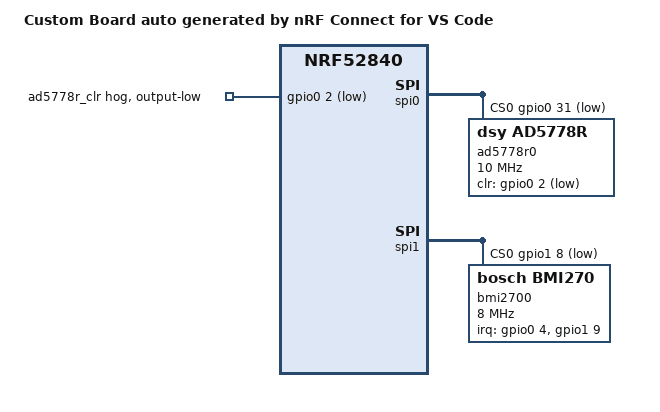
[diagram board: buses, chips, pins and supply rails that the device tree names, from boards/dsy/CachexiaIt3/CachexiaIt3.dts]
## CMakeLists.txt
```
# CMakeLists.txt at the repository root
cmake_minimum_required(VERSION 3.20.0)

find_package(Zephyr REQUIRED HINTS $ENV{ZEPHYR_BASE})
project(NexusFW)

# ── Public headers ──
# One top‑level include directory is enough;   #include <ble/ble.h>
# is resolved as "${PROJECT_SOURCE_DIR}/include/ble/ble.h".
target_include_directories(app PUBLIC
    ${CMAKE_CURRENT_SOURCE_DIR}/include
    ${CMAKE_CURRENT_SOURCE_DIR}/include/ble
    ${CMAKE_CURRENT_SOURCE_DIR}/include/driver
)

# ── Sources (conditional compile per app) ──
# Keep this convenient: auto-include drivers; explicitly include app variant.

# Drivers (auto-include any new driver/*.c without editing this file)
file(GLOB DRIVER_SOURCES CONFIGURE_DEPENDS
     ${CMAKE_CURRENT_SOURCE_DIR}/src/driver/*.c)

# Always include main; shared BLE advertising core is linked once
set(BASE_SOURCES
    ${CMAKE_CURRENT_SOURCE_DIR}/src/main.c
)

# App-specific sources
if (CONFIG_APP_CACHEXIA)
  message(STATUS "Building Cachexia application")
  set(APP_SPECIFIC
      ${CMAKE_CURRENT_SOURCE_DIR}/src/app/cachexia_app.c
      ${CMAKE_CURRENT_SOURCE_DIR}/src/ble/ble_cachexia_srv.c
      ${CMAKE_CURRENT_SOURCE_DIR}/src/ble/ble_adv_core.c)
elseif (CONFIG_APP_STIM_DEMO)
  message(STATUS "Building STIM_DEMO application")
  set(APP_SPECIFIC
      ${CMAKE_CURRENT_SOURCE_DIR}/src/ble/ble_ad5689_srv.c
      ${CMAKE_CURRENT_SOURCE_DIR}/src/ble/ble_advertise.c)
elseif (CONFIG_APP_DRUG_DELIVERY)
  message(STATUS "Building DRUG_DELIVERY application")
  set(APP_SPECIFIC
      ${CMAKE_CURRENT_SOURCE_DIR}/src/app/drug_delivery_app.c
      ${CMAKE_CURRENT_SOURCE_DIR}/src/ble/ble_drug_delivery_srv.c
      ${CMAKE_CURRENT_SOURCE_DIR}/src/ble/ble_adv_core.c)
elseif (CONFIG_APP_GFET_MEASURE)
  message(STATUS "Building GFET_MEASURE application")
  set(APP_SPECIFIC
      ${CMAKE_CURRENT_SOURCE_DIR}/src/app/gfet_app.c
      ${CMAKE_CURRENT_SOURCE_DIR}/src/ble/ble_gfet_srv.c
      ${CMAKE_CURRENT_SOURCE_DIR}/src/ble/ble_adv_core.c)
elseif (CONFIG_APP_MLX_DEMO)
  message(STATUS "Testing MLX sensor")
  set(APP_SPECIFIC
      ${CMAKE_CURRENT_SOURCE_DIR}/src/app/mlx_app.c
      ${CMAKE_CURRENT_SOURCE_DIR}/src/ble/ble_mlx_srv.c
      ${CMAKE_CURRENT_SOURCE_DIR}/src/ble/ble_adv_core.c)

elseif (CONFIG_APP_CACHEXIA_CURRENT_DEVICE)
  message(STATUS "Cachexia Current Source Device")
  set(APP_SPECIFIC
    ${CMAKE_CURRENT_SOURCE_DIR}/src/app/cachexia_cs_app.c
    # ${CMAKE_CURRENT_SOURCE_DIR}/src/app/cachexia_cs_app_diag.c
    # ${CMAKE_CURRENT_SOURCE_DIR}/src/app/mux_probe_app.c
    ${CMAKE_CURRENT_SOURCE_DIR}/src/ble/ble_cachexia_cs_srv.c
    ${CMAKE_CURRENT_SOURCE_DIR}/src/ble/ble_adv_core.c)

elseif (CONFIG_APP_EXG_DEVICE)
  message(STATUS "Testing exg sensor")
  set(APP_SPECIFIC
      ${CMAKE_CURRENT_SOURCE_DIR}/src/app/max30001_stream_app.c
      ${CMAKE_CURRENT_SOURCE_DIR}/src/ble/ble_max30001_stream_srv.c
      ${CMAKE_CURRENT_SOURCE_DIR}/src/ble/ble_adv_core.c)

elseif (CONFIG_APP_MECHANICAL_SENSOR)
  message(STATUS "Testing Dual Mechanical Sensor")
  set(APP_SPECIFIC
      ${CMAKE_CURRENT_SOURCE_DIR}/src/app/mlx90397_dual_app.c
      ${CMAKE_CURRENT_SOURCE_DIR}/src/ble/ble_mlx97_srv.c
      ${CMAKE_CURRENT_SOURCE_DIR}/src/ble/ble_adv_core.c)
elseif (CONFIG_APP_CS_FG)
  message(STATUS "Testing Function Generator")
  set(APP_SPECIFIC
      ${CMAKE_CURRENT_SOURCE_DIR}/src/app/cachexia_fg_app.c
      ${CMAKE_CURRENT_SOURCE_DIR}/src/ble/ble_cachexia_fg_srv.c
      ${CMAKE_CURRENT_SOURCE_DIR}/src/ble/ble_adv_core.c)
else()
  message(STATUS "No app variant selected; defaulting to STIM_DEMO")
  set(APP_SPECIFIC
      ${CMAKE_CURRENT_SOURCE_DIR}/src/ble/ble_ad5689_srv.c
      ${CMAKE_CURRENT_SOURCE_DIR}/src/ble/ble_advertise.c)
endif()

target_sources(app PRIVATE ${BASE_SOURCES} ${DRIVER_SOURCES} ${APP_SPECIFIC})
```

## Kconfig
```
# Give the app a menu title (optional)
mainmenu "NexusFW"

# CRITICAL: pull in Zephyr + NCS Kconfig tree
source "Kconfig.zephyr"
menu "Application configuration"

choice APP_VARIANT
    prompt "Select application variant"
    default APP_STIM_DEMO

config APP_CACHEXIA
	bool "Cachexia application"
	help
	  Build the Cachexia application variant which provides the
	  Cachexia BLE service and application thread.

config APP_DRUG_DELIVERY
	bool "Drug delivery application"
	help
	  Build the Drug Delivery application variant which exposes
	  5 on/off BLE characteristics that directly control GPIO pins
	  P0.28, P0.29, P0.30, P0.25, and P0.31.

config APP_STIM_DEMO
    bool "Stim demo application"
    help
      Build the AD5689 demo variant with the dual-DAC BLE service.

config APP_GFET_MEASURE
    bool "Graphene FET measurement application"
    help
      Build the Graphene FET measurement application which uses the
      AD5941 AFE (via SPI) together with the AD5689 DAC to bias the
      device under test and stream measurements over BLE notifications.
config APP_CACHEXIA_CURRENT_DEVICE
    bool "Current source version of cachexia stimulator"
    help
      Really? You need help? Like how did you even trigger this? How is this even helpful?

config APP_EXG_DEVICE
    bool "EXG Device"
    help
      Really? You need help? Like how did you even trigger this? How is this even helpful?
config APP_MECHANICAL_SENSOR
    bool "Dual MLX Mechanical Sensor"
    help
      Dual MLX Mechanical Sensor
config APP_CS_FG
    bool "Current source function generator"
    help
       Current source function generator 
config APP_MLX_DEMO
    bool "MLX Demo"
    help
        Demo app for mlx90393

endchoice

endmenu
```

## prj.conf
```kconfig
# Boot Loader Configuration
CONFIG_BOOTLOADER_MCUBOOT=y
CONFIG_NCS_SAMPLE_MCUMGR_BT_OTA_DFU=y

# Configure SoC Flash
CONFIG_FLASH=y
CONFIG_MPU_ALLOW_FLASH_WRITE=y
CONFIG_SOC_FLASH_NRF_EMULATE_ONE_BYTE_WRITE_ACCESS=y
CONFIG_FCB=y
CONFIG_FLASH_MAP=y
CONFIG_SETTINGS=y
CONFIG_SETTINGS_FCB=y

CONFIG_BT=y
# CONFIG_BT_DEVICE_NAME="DrugDeliveryD4"
# CONFIG_BT_DEVICE_NAME="CachexiaCSFine02"
# CONFIG_BT_DEVICE_NAME="GFETTest"
CONFIG_BT_DEVICE_NAME="MechDevice05"
# CONFIG_BT_DEVICE_NAME="MECH2"
# CONFIG_BT_DEVICE_NAME="FGDEMO"
CONFIG_BT_PERIPHERAL=y

# Config APP
# Application variants (enable exactly one)
# CONFIG_APP_CACHEXIA=y     # Cachexia stimulation app (DAC-based)
# CONFIG_APP_STIM_DEMO=y    # AD5689 dual-DAC demo app
# CONFIG_APP_DRUG_DELIVERY=y  # Drug delivery app (5 GPIO on/off)
# CONFIG_APP_GFET_MEASURE=y   # Graphene FET measurement app
# CONFIG_APP_MLX_DEMO=y
# CONFIG_APP_CACHEXIA_CURRENT_DEVICE=y
# CONFIG_APP_EXG_DEVICE=y
CONFIG_APP_MECHANICAL_SENSOR=y
# CONFIG_APP_CS_FG=y

CONFIG_SENSOR=y
CONFIG_BMI270=y

CONFIG_UART_CONSOLE=n
CONFIG_CONSOLE=y
CONFIG_CONSOLE=y
CONFIG_USE_SEGGER_RTT=y
CONFIG_RTT_CONSOLE=y

# Driver Configuration
CONFIG_I2C=y
CONFIG_GPIO=y
CONFIG_SPI=y
CONFIG_ADC=y
CONFIG_APPLICATION_DEFINED_SYSCALL=y

# LFCLK: internal RC + calibration
CONFIG_CLOCK_CONTROL_NRF_K32SRC_RC=y
# Keep the RC trimmed (better timing, fewer BLE hiccups)
CONFIG_CLOCK_CONTROL_NRF_K32SRC_RC_CALIBRATION=y


CONFIG_LOG=y
CONFIG_LOG_BACKEND_RTT=y
# (Optional) Recalibrate every ~4 s:
# CONFIG_CLOCK_CONTROL_NRF_K32SRC_RC_CALIBRATION_PERIOD=4000
```

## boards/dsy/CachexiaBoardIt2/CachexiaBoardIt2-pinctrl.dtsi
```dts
&pinctrl {
    spi0_default: spi0_default {
		group1 {
			psels = <NRF_PSEL(SPIM_SCK, 0, 29)>,
				<NRF_PSEL(SPIM_MOSI, 0, 2)>,
				<NRF_PSEL(SPIM_MISO, 0, 31)>;
		};
	};

	spi0_sleep: spi0_sleep {
		group1 {
			psels = <NRF_PSEL(SPIM_SCK, 0, 29)>,
				<NRF_PSEL(SPIM_MOSI, 0, 2)>,
				<NRF_PSEL(SPIM_MISO, 0, 31)>;
			low-power-enable;
		};
	};
};
```

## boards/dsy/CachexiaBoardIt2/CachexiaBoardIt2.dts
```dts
/dts-v1/;
#include <nordic/nrf52840_qfaa.dtsi>
#include "CachexiaBoardIt2-pinctrl.dtsi"

/ {
    model = "Custom Board auto generated by nRF Connect for VS Code";
    compatible = "DSY,CachexiaBoardIt2";

    chosen {
        zephyr,sram = &sram0;
        zephyr,flash = &flash0;
        zephyr,code-partition = &slot0_partition;
    };
};

&flash0 {
	partitions {
		compatible = "fixed-partitions";
		#address-cells = <1>;
		#size-cells = <1>;

		boot_partition: partition@0 {
			label = "mcuboot";
			reg = <0x00000000 DT_SIZE_K(48)>;
		};

		slot0_partition: partition@c000 {
			label = "image-0";
			reg = <0x0000c000 DT_SIZE_K(472)>;
		};

		slot1_partition: partition@82000 {
			label = "image-1";
			reg = <0x00082000 DT_SIZE_K(472)>;
		};

		storage_partition: partition@f8000 {
			label = "storage";
			reg = <0x000f8000 DT_SIZE_K(32)>;
		};
	};
};

&spi0 {
	status = "okay";
	pinctrl-names = "default", "sleep";
	cs-gpios = <&gpio0 28 GPIO_ACTIVE_LOW>;
	pinctrl-0 = <&spi0_default>;
	pinctrl-1 = <&spi0_sleep>;
    dac: ad5689@0 {
        compatible = "dsy,ad5689";
        reg = <0>;                       /* CS0 */
        ldac-gpios  = <&gpio0 8 GPIO_ACTIVE_LOW>;
        clr-gpios   = <&gpio0 9 GPIO_ACTIVE_LOW>;
        reset-gpios = <&gpio0 30 GPIO_ACTIVE_LOW>;
        spi-max-frequency = <8000000>;  /* 20 MHz */
        status = "okay";
    };
};
&gpio0 { status = "okay"; };
&gpio1 { status = "okay"; };

&gpiote {
    status = "okay";
};

/* (No SAADC channel for VBAT; BATT_MON not used) */
```

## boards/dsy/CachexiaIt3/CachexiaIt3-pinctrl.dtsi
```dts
&pinctrl {
    spi0_default: spi0_default {
        group1 {
            psels = <NRF_PSEL(SPIM_SCK, 0, 30)>,
                <NRF_PSEL(SPIM_MOSI, 0, 28)>,
                <NRF_PSEL(SPIM_MISO, 0, 29)>;
            bias-pull-up;   /* 关键：给 MISO 上拉（注意：这会对该 group 里的所有 pin 生效） */
        };
    };

    spi0_sleep: spi0_sleep {
        group1 {
            psels = <NRF_PSEL(SPIM_SCK, 0, 30)>,
                <NRF_PSEL(SPIM_MOSI, 0, 28)>,
                <NRF_PSEL(SPIM_MISO, 0, 29)>;
            low-power-enable;
        };
    };

    /* ---- BMI270 on SPI1 ----
     *  imu_sck  = P0.08
     *  imu_mosi = P0.07
     *  imu_miso = P0.05
     */
    spi1_default: spi1_default {
        group1 {
            psels = <NRF_PSEL(SPIM_SCK, 0, 8)>,
                <NRF_PSEL(SPIM_MOSI, 0, 7)>;
        };
        group2 {
            psels = <NRF_PSEL(SPIM_MISO, 0, 5)>;
            bias-pull-up;   /* 可选：让 MISO 在 CS 高时不漂（只对 MISO 生效） */
        };
    };

    spi1_sleep: spi1_sleep {
        group1 {
            psels = <NRF_PSEL(SPIM_SCK, 0, 8)>,
                <NRF_PSEL(SPIM_MOSI, 0, 7)>,
                <NRF_PSEL(SPIM_MISO, 0, 5)>;
            low-power-enable;
        };
    };
};
```

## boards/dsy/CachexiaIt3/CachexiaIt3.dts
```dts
/dts-v1/;
#include <nordic/nrf52840_qfaa.dtsi>
#include "CachexiaIt3-pinctrl.dtsi"

/ {
	model = "Custom Board auto generated by nRF Connect for VS Code";
	compatible = "DSY,CachexiaIt3";

	chosen {
		zephyr,sram = &sram0;
		zephyr,flash = &flash0;
		zephyr,code-partition = &slot0_partition;
	};
};

&flash0 {
	partitions {
		compatible = "fixed-partitions";
		#address-cells = <1>;
		#size-cells = <1>;

		boot_partition: partition@0 {
			label = "mcuboot";
			reg = <0x00000000 DT_SIZE_K(48)>;
		};

		slot0_partition: partition@c000 {
			label = "image-0";
			reg = <0x0000c000 DT_SIZE_K(472)>;
		};

		slot1_partition: partition@82000 {
			label = "image-1";
			reg = <0x00082000 DT_SIZE_K(472)>;
		};

		storage_partition: partition@f8000 {
			label = "storage";
			reg = <0x000f8000 DT_SIZE_K(32)>;
		};
	};
};

&gpio0 {
    status = "okay";

    ad5778r_clr_hog: ad5778r_clr_hog {
        gpio-hog;
        gpios = <2 GPIO_ACTIVE_LOW>;
        output-low;          /* 对 active-low 的 CLR 来说：high = inactive */
        line-name = "ad5778r_clr";
    };
};

&gpio1 { status = "okay"; };

&gpiote {
    status = "okay";
};

&spi0 {
	status = "okay";
	pinctrl-names = "default", "sleep";
	cs-gpios = <&gpio0 31 GPIO_ACTIVE_LOW>;
	pinctrl-0 = <&spi0_default>;
	pinctrl-1 = <&spi0_sleep>;
	ad5778r0: ad5778r@0 {
		compatible = "dsy,ad5778r";
		reg = <0>;
		spi-max-frequency = <10000000>;

		/* 建议按 datasheet：LDAC/CLR 都是 active-low（不用就绑 IOVCC） */
		// ldac-gpios = <&gpio0 10 GPIO_ACTIVE_LOW>;
		clr-gpios  = <&gpio0 2 GPIO_ACTIVE_LOW>;

		/* 如果你要用 toggle select/global toggle 的“软件切换”，TGP 需要为高 */
		/* tgp-gpios = <&gpio0 12 GPIO_ACTIVE_HIGH>; */
		/* tgp-default-high; */

		/* 如果 SDO 接了 MCU 并且上拉了，可以开 readback */
		/* sdo-readback; */

		/* 可选：用外部参考（硬件上 REFCOMP 必须接地） */
		/* external-reference; */
	};
};

&spi1 {
    status = "okay";
    pinctrl-names = "default", "sleep";
    pinctrl-0 = <&spi1_default>;
    pinctrl-1 = <&spi1_sleep>;

    /* imu_cs = P1.08 -> gpio1 pin 8 */
    cs-gpios = <&gpio1 8 GPIO_ACTIVE_LOW>;

    bmi2700: bmi270@0 {
        compatible = "bosch,bmi270";
        reg = <0>;
        spi-max-frequency = <8000000>;

        /* int1: P0.04, int2: P1.09 */
        irq-gpios = <&gpio0 4 GPIO_ACTIVE_HIGH>, <&gpio1 9 GPIO_ACTIVE_HIGH>;
    };
};
```

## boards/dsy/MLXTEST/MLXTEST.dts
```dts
/dts-v1/;
#include <nordic/nrf52840_qiaa.dtsi>
#include "MLXTEST-pinctrl.dtsi"

/ {
	model = "Custom Board auto generated by nRF Connect for VS Code";
	compatible = "DSY,MLXTEST";

	chosen {
		zephyr,sram = &sram0;
		zephyr,flash = &flash0;
		zephyr,code-partition = &slot0_partition;
	};
};

&flash0 {
	partitions {
		compatible = "fixed-partitions";
		#address-cells = <1>;
		#size-cells = <1>;

		boot_partition: partition@0 {
			label = "mcuboot";
			reg = <0x00000000 DT_SIZE_K(48)>;
		};

		slot0_partition: partition@c000 {
			label = "image-0";
			reg = <0x0000c000 DT_SIZE_K(472)>;
		};

		slot1_partition: partition@82000 {
			label = "image-1";
			reg = <0x00082000 DT_SIZE_K(472)>;
		};

		storage_partition: partition@f8000 {
			label = "storage";
			reg = <0x000f8000 DT_SIZE_K(32)>;
		};
	};
};



&gpio0 {
	status = "okay";
};

&gpio1 {
	status = "okay";
};
&gpiote {
	status = "okay";
};

&i2c0 {
	status = "okay";
	pinctrl-0 = <&i2c0_default>;
	pinctrl-1 = <&i2c0_sleep>;
	pinctrl-names = "default", "sleep";

	/* SparkFun Qwiic MLX90393 默认 7-bit I2C 地址 0x0C */
	mlx90393: mlx90393@0c {
		compatible = "dsy,mlx90393";
		reg = <0x0c>;

		/* INT/TRIG 没接可以先不写；真接了再填 */
		/* int-gpios   = <&gpio0 10 GPIO_ACTIVE_HIGH>; */
		/* reset-gpios = <&gpio0 11 GPIO_ACTIVE_HIGH>; */
	};
};

&pinctrl {
	i2c0_default: i2c0_default {
		group1 {
			psels = <
				NRF_PSEL(TWIM_SCL, 0, 27)
				NRF_PSEL(TWIM_SDA, 0, 26)
			>;
		};
	};

	i2c0_sleep: i2c0_sleep {
		group1 {
			psels = <
				NRF_PSEL(TWIM_SCL, 0, 27)
				NRF_PSEL(TWIM_SDA, 0, 26)
			>;
		};
	};
};
```

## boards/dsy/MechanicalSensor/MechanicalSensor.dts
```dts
/dts-v1/;
#include <nordic/nrf52840_qfaa.dtsi>
#include "MechanicalSensor-pinctrl.dtsi"

/ {
	model = "Custom Board auto generated by nRF Connect for VS Code";
	compatible = "DSY,MechanicalSensor";

	chosen {
		zephyr,sram = &sram0;
		zephyr,flash = &flash0;
		zephyr,code-partition = &slot0_partition;
	};
};

&flash0 {
	partitions {
		compatible = "fixed-partitions";
		#address-cells = <1>;
		#size-cells = <1>;

		boot_partition: partition@0 {
			label = "mcuboot";
			reg = <0x00000000 DT_SIZE_K(48)>;
		};

		slot0_partition: partition@c000 {
			label = "image-0";
			reg = <0x0000c000 DT_SIZE_K(472)>;
		};

		slot1_partition: partition@82000 {
			label = "image-1";
			reg = <0x00082000 DT_SIZE_K(472)>;
		};

		storage_partition: partition@f8000 {
			label = "storage";
			reg = <0x000f8000 DT_SIZE_K(32)>;
		};
	};
};

&gpio0 {
	status = "okay";
};

&gpio1 {
	status = "okay";
};
&gpiote {
	status = "okay";
};

&i2c0 {
    status = "okay";
    pinctrl-0 = <&i2c0_default>;
    pinctrl-1 = <&i2c0_sleep>;
    pinctrl-names = "default", "sleep";

    mlx90397_0: mlx90397@d {
        compatible = "dsy,mlx90397";
        reg = <0x0d>;
        status = "okay";
    };
};

&i2c1 {
    status = "okay";
    pinctrl-0 = <&i2c1_default>;
    pinctrl-1 = <&i2c1_sleep>;
    pinctrl-names = "default", "sleep";

    mlx90397_1: mlx90397@d {
        compatible = "dsy,mlx90397";
        reg = <0x0d>;
        status = "okay";
    };
};

&pinctrl {
	i2c0_default: i2c0_default {
		group1 {
			psels = <
				NRF_PSEL(TWIM_SCL, 0, 13)
				NRF_PSEL(TWIM_SDA, 0, 8)
			>;
		};
	};

	i2c0_sleep: i2c0_sleep {
		group1 {
			psels = <
				NRF_PSEL(TWIM_SCL, 0, 13)
				NRF_PSEL(TWIM_SDA, 0, 8)
			>;
		};
	};

	i2c1_default: i2c1_default {
		group1 {
			psels = <
				NRF_PSEL(TWIM_SCL, 0, 11) /* <-- 改成你的 I2C1 SCL */
				NRF_PSEL(TWIM_SDA, 1, 8) /* <-- 改成你的 I2C1 SDA */
			>;
		};
	};

	i2c1_sleep: i2c1_sleep {
		group1 {
			psels = <
				NRF_PSEL(TWIM_SCL, 0, 11) /* <-- 同上 */
				NRF_PSEL(TWIM_SDA, 1, 8) /* <-- 同上 */
			>;
		};
	};
};
```

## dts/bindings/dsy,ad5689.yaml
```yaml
# Copyright (c) 2025, Your‑Org
# SPDX-License-Identifier: Apache-2.0

description: >
  dsy AD5689 nanoDAC+
  (dual 16‑bit voltage‑output DAC controlled over SPI)

compatible: "dsy,ad5689"

include: spi-device.yaml

properties:
  ldac-gpios:
    type: phandle-array
    required: false
    description: Optional LDAC pin (active‑low).

  clr-gpios:
    type: phandle-array
    required: false
    description: Optional CLR pin (active‑low) that drives the outputs
      to the clear code.

  reset-gpios:
    type: phandle-array
    required: false
    description: Optional hardware RESET pin (active‑low).  If omitted,
      the driver issues a software RESET (command 0x07).

  spi-max-frequency:
    default: 5000000          # conservative; part allows up to 30 MHz
    description: Maximum SPI clock frequency in Hz.
```

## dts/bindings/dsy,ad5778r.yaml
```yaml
# Copyright (c) 2025, Your‑Org
# SPDX-License-Identifier: Apache-2.0

description: >
  dsy AD5778R SoftSpan current-source DAC
  (dual 16‑bit current-source output DAC controlled over SPI)

compatible: "dsy,ad5778r"

include: spi-device.yaml

properties:
  ldac-gpios:
    type: phandle-array
    required: false
    description: >
      Optional LDAC pin (active‑low). If CS/LD is high, a falling edge on LDAC
      updates all DAC registers from their input registers. If not used, tie LDAC to IOVCC.

  clr-gpios:
    type: phandle-array
    required: false
    description: >
      Optional CLR pin (active‑low). Level-triggered asynchronous clear that resets
      outputs to high‑Z / zero-scale behavior and clears control registers. If not used, tie to IOVCC.

  tgp-gpios:
    type: phandle-array
    required: false
    description: >
      Optional TGP pin (toggle clock input). Used for A/B toggle via external logic.
      If toggle operations are done through software, datasheet recommends tying TGP to IOVCC.
      If toggle is unused, tie TGP to GND.

  tgp-default-high:
    type: boolean
    required: false
    description: >
      If present and tgp-gpios is provided, the driver may drive TGP high at init
      (helpful for software-controlled toggle use cases).

  fault-gpios:
    type: phandle-array
    required: false
    description: >
      Optional FAULT pin (open-drain, active-low). If wired to MCU, can be used as an interrupt source.
      A pull-up resistor is required.

  sdo-readback:
    type: boolean
    required: false
    description: >
      If present, driver uses SPI transceive to sample the status/fault byte on SDO
      during transactions. Requires SDO(MISO) wired to the SPI controller.

  external-reference:
    type: boolean
    required: false
    description: >
      Select external reference mode (CONFIG.RD=1). Hardware note: REFCOMP must be tied to GND
      for external reference operation.

  disable-open-circuit:
    type: boolean
    required: false
    description: Disable open-circuit detection (CONFIG.OC=1), suppresses FR0/FR1.

  disable-power-limit:
    type: boolean
    required: false
    description: Disable power-limit protection (CONFIG.PL=1), suppresses FR3 behavior.

  disable-thermal-shutdown:
    type: boolean
    required: false
    description: Disable thermal shutdown protection (CONFIG.TS=1), suppresses FR2 behavior.

  spi-max-frequency:
    default: 10000000          # conservative; device supports higher (see datasheet; depends on IOVCC)
    description: Maximum SPI clock frequency in Hz.
```

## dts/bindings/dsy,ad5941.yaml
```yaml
description: |
  dsy AD5941 Analog Front End (AFE)
  SPI-controlled impedance/voltammetry AFE used for electrochemical sensing.

compatible: "dsy,ad5941"

include: spi-device.yaml

properties:
  reset-gpios:
    type: phandle-array
    required: false
    description: Optional RESET pin (active-low)

  int-gpios:
    type: phandle-array
    required: false
    description: Optional interrupt pin from AD5941 to MCU

  spi-max-frequency:
    type: int
    description: Maximum SPI clock in Hz
    default: 4000000
```

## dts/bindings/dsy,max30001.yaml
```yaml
# Copyright (c) 2025, Your‑Org
# SPDX-License-Identifier: Apache-2.0

description: >
  dsy MAX30001 ultra-low-power biopotential (BioV/ECG) + bioimpedance (BioZ) AFE
  (SPI interface). This binding is for a custom Zephyr driver API (not the generic sensor subsystem).

compatible: "dsy,max30001"

include: spi-device.yaml

properties:
  int-gpios:
    type: phandle-array
    required: false
    description: >
      Optional INTB pin (active-low interrupt). If wired, app/driver can use it
      as a wake source for FIFO servicing. Pull-up required if used (open-drain modes exist).

  int2-gpios:
    type: phandle-array
    required: false
    description: >
      Optional INT2B pin (active-low second interrupt output). Pull-up required if used.

  fmstr:
    type: int
    default: 0
    enum: [0, 1, 2, 3]
    description: >
      CNFG_GEN.FMSTR[1:0] master frequency select.
      0: ~32.768kHz, 1: ~32.000kHz (500Hz progression), 2: ~32.000kHz (200Hz progression),
      3: ~31.968kHz.

  ecg-rate:
    type: int
    default: 2
    enum: [0, 1, 2, 3]
    description: >
      CNFG_ECG.ECG_RATE[1:0] (raw code). Typical for FMSTR=0:
      0=512sps, 1=256sps, 2=128sps. (See datasheet for other FMSTR mappings.)

  bioz-rate:
    type: int
    default: 0
    enum: [0, 1]
    description: >
      CNFG_BIOZ.BIOZ_RATE (raw bit). Typical for FMSTR=0:
      0=64sps, 1=32sps. (See datasheet for other FMSTR mappings.)

  bioz-cgmag:
    type: int
    default: 3
    enum: [0, 1, 2, 3, 4, 5, 6, 7]
    description: >
      CNFG_BIOZ.BIOZ_CGMAG[2:0] current generator magnitude:
      0=Off, 1=8uA, 2=16uA, 3=32uA, 4=48uA, 5=64uA, 6=80uA, 7=96uA.

  bioz-fcgen:
    type: int
    default: 8
    enum: [0, 1, 2, 3, 4, 5, 6, 7, 8, 9, 10, 11, 12, 13, 14, 15]
    description: >
      CNFG_BIOZ.BIOZ_FCGEN[3:0] current generator modulation frequency selector.
      8 means fMSTR/64 (~500Hz when FMSTR=0).

  enable-rbias-ecg:
    type: boolean
    required: false
    description: >
      If present, enable resistive lead-bias on ECG inputs:
      EN_RBIAS=01, RBIASV=01 (100M), RBIASP/RBIASN=1.
```

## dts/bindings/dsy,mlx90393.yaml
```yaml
description: Melexis MLX90393 Triaxis magnetic sensor (I2C mode)

compatible: "dsy,mlx90393"

include: i2c-device.yaml

properties:
  int-gpios:
    type: phandle-array
    required: false
    description: Optional interrupt pin

  reset-gpios:
    type: phandle-array
    required: false
    description: Optional reset pin (usually unused)
```

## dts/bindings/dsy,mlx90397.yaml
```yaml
# Copyright (c) 2026
# SPDX-License-Identifier: Apache-2.0

description: Melexis MLX90397 Triaxis magnetic sensor (I2C mode)

compatible: "dsy,mlx90397"

include: i2c-device.yaml

properties:
  int-gpios:
    type: phandle-array
    required: false
    description: Optional DRDY/INT pin

  reset-gpios:
    type: phandle-array
    required: false
    description: Optional reset pin (if wired on the board)
```

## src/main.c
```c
#include <zephyr/kernel.h>
#include <zephyr/device.h>
#include <zephyr/logging/log.h>
#include <zephyr/drivers/gpio.h>

#include "ble_adv_core.h"
// #include "ad5689.h"
// #include "ble_ad5689_srv.h"
#include "mlx90393.h"
LOG_MODULE_REGISTER(app, CONFIG_LOG_DEFAULT_LEVEL);

/* BLE advertising thread is defined in the app-specific module. */

int main(void)
{
    /* Quick sanity: confirm the MLX90393 device instance is ready */
    /* Configure P0.23 as indicator LED (active-low):
     * - Pull the pin low for 100 ms (LED on)
     * - Then release to Hi-Z for 900 ms (LED off)
     * Use k_sleep to avoid starving lower-priority threads.
     */
    // const struct device *gpio0 = DEVICE_DT_GET(DT_NODELABEL(gpio0));
    // const uint32_t pin = 23U; /* P0.23 */

    // if (!device_is_ready(gpio0)) {
    //     LOG_ERR("gpio0 not ready");
    //     return 0;
    // }

    /* Ensure LED is off initially by setting Hi-Z (input). */
    // (void)gpio_pin_configure(gpio0, pin, GPIO_INPUT);

    while (1) {
        printk("Running...\n");
        // bool healthy = ble_is_healthy();

        // if (healthy) {
        //     /* Normal heartbeat: 100 ms low, 900 ms Hi-Z */
        //     (void)gpio_pin_configure(gpio0, pin, GPIO_OUTPUT);
        //     (void)gpio_pin_set(gpio0, pin, 0);
        //     k_sleep(K_MSEC(100));

        //     (void)gpio_pin_configure(gpio0, pin, GPIO_INPUT);
        //     k_sleep(K_MSEC(900));
        // } else {
        //     /* BLE unhealthy: double-flash pattern within ~1 s window */
        //     for (int i = 0; i < 2; ++i) {
        //         (void)gpio_pin_configure(gpio0, pin, GPIO_OUTPUT);
        //         (void)gpio_pin_set(gpio0, pin, 0);
        //         k_sleep(K_MSEC(100));

        //         (void)gpio_pin_configure(gpio0, pin, GPIO_INPUT);
        //         k_sleep(K_MSEC(100));
        //     }
        //     /* Remaining off time */
            k_sleep(K_MSEC(1000));
        }
    }
```
